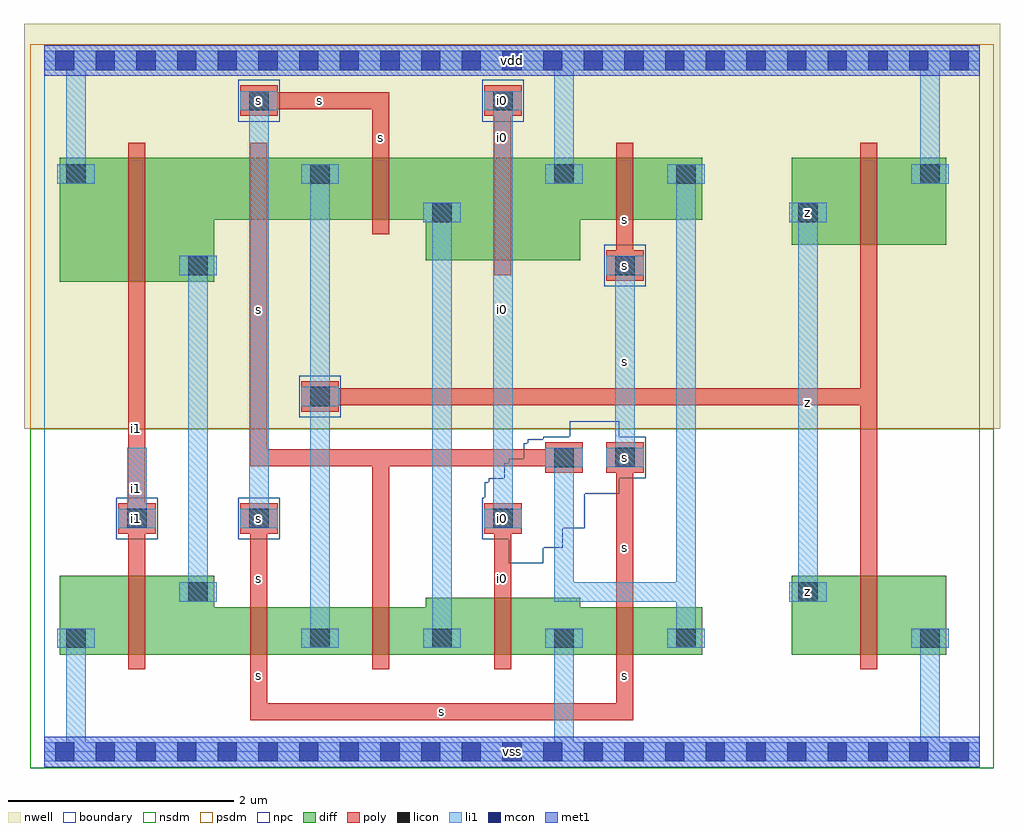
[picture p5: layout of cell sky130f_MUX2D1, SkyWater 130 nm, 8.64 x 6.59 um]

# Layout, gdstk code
import gdstk
lib = gdstk.Library(unit=1e-6, precision=1e-09)
def R(c, l, rs):  # rectangles x0, y0, x1, y1
    for r in rs: c.add(gdstk.rectangle(r[:2], r[2:], *l))
def A(c, l, x, y, w, h, nx, ny, dx, dy):  # array of equal rectangles
    R(c, l, [(x+i*dx, y+j*dy, x+i*dx+w, y+j*dy+h) for i in range(nx) for j in range(ny)])
def P(c, l, *ps):  # polygons
    for p in ps: c.add(gdstk.Polygon(p, *l))
L0_0 = (0, 0)
nwell = (64, 20)
diff = (65, 20)
poly = (66, 20)
licon = (66, 44)
li1 = (67, 20)
mcon = (67, 44)
met1 = (68, 20)
nsdm = (93, 44)
psdm = (94, 20)
npc = (95, 20)
boundary = (235, 4)

sky130f_mux2d1 = lib.new_cell('sky130f_MUX2D1')
R(sky130f_mux2d1, nwell, [(-0.18,2.86,8.46,6.445)])
A(sky130f_mux2d1, diff, 2.295, 0.86, 0.29, 0.29, 4, 1, 1.08, 0)
A(sky130f_mux2d1, diff, 0.135, 4.97, 0.29, 0.29, 3, 1, 2.16, 0)
R(sky130f_mux2d1, diff, [(0.135,0.86,1.505,1.56), (0.135,0.86,0.425,1.15), (1.215,0.86,2.585,1.28), (2.295,0.86,3.665,1.28), (3.375,0.86,4.745,1.365), (4.455,0.86,5.825,1.28), (6.615,0.86,7.985,1.56), (7.695,0.86,7.985,1.15), (1.215,1.27,1.505,1.56), (6.615,1.27,6.905,1.56), (0.135,4.16,1.505,5.26), (1.215,4.16,1.505,4.45), (3.375,4.35,4.745,5.26), (6.615,4.49,7.985,5.26), (3.375,4.63,3.665,4.92), (6.615,4.63,6.905,4.92), (1.215,4.71,2.585,5.26), (2.295,4.71,3.665,5.26), (4.455,4.71,5.825,5.26), (5.535,4.97,5.825,5.26), (7.695,4.97,7.985,5.26)])
R(sky130f_mux2d1, poly, [(1.825,0.28,1.975,1.08), (1.825,0.28,5.215,0.43), (5.065,0.28,5.215,1.08), (0.745,0.73,0.895,1.69), (1.825,0.73,1.975,1.41), (2.905,0.73,3.055,1.41), (3.985,0.73,4.135,1.495), (5.065,0.73,5.215,1.41), (7.225,0.73,7.375,1.69), (1.825,0.93,1.975,2.14), (2.905,0.93,3.055,2.68), (3.985,0.93,4.135,2.14), (5.065,0.93,5.215,2.68), (0.745,1.34,0.895,4.38), (7.225,1.34,7.375,3.22), (0.655,1.93,0.985,2.2), (1.735,1.93,2.065,2.2), (3.895,1.93,4.225,2.2), (4.435,2.47,4.765,2.74), (4.975,2.47,5.305,2.74), (1.825,2.53,3.055,2.68), (1.825,2.53,1.975,5.19), (2.905,2.53,4.675,2.68), (2.275,3.01,2.605,3.28), (2.365,3.07,7.375,3.22), (7.225,3.07,7.375,4.85), (0.745,4.03,0.895,5.39), (4.975,4.17,5.305,4.44), (3.985,4.22,4.135,5.39), (5.065,4.23,5.215,5.19), (7.225,4.36,7.375,5.39), (1.825,4.58,1.975,5.39), (2.905,4.58,3.055,5.39), (5.065,4.58,5.215,5.39), (2.905,5.04,3.055,5.84), (3.985,5.04,4.135,5.84), (1.735,5.63,2.065,5.9), (3.895,5.63,4.225,5.9), (1.825,5.69,3.055,5.84)])
A(sky130f_mux2d1, licon, 2.355, 0.92, 0.17, 0.17, 4, 1, 1.08, 0)
A(sky130f_mux2d1, licon, 0.195, 5.03, 0.17, 0.17, 3, 1, 2.16, 0)
R(sky130f_mux2d1, licon, [(0.195,0.92,0.365,1.09), (7.755,0.92,7.925,1.09), (1.275,1.33,1.445,1.5), (6.675,1.33,6.845,1.5), (0.735,1.98,0.905,2.15), (1.815,1.98,1.985,2.15), (3.975,1.98,4.145,2.15), (4.515,2.52,4.685,2.69), (5.055,2.52,5.225,2.69), (2.355,3.06,2.525,3.23), (1.275,4.22,1.445,4.39), (5.055,4.22,5.225,4.39), (3.435,4.69,3.605,4.86), (6.675,4.69,6.845,4.86), (5.595,5.03,5.765,5.2), (7.755,5.03,7.925,5.2), (1.815,5.68,1.985,5.85), (3.975,5.68,4.145,5.85)])
A(sky130f_mux2d1, li1, 2.275, 0.92, 0.33, 0.17, 4, 1, 1.08, 0)
A(sky130f_mux2d1, li1, 0.115, 5.03, 0.33, 0.17, 3, 1, 2.16, 0)
R(sky130f_mux2d1, li1, [(0,-0.085,8.28,0.085), (0.195,0.06,0.365,1.09), (4.515,0.06,4.685,1.09), (7.755,0.06,7.925,1.09), (0.115,0.92,0.445,1.09), (2.355,0.92,2.525,5.2), (3.435,0.92,3.605,4.86), (5.595,0.92,5.765,1.5), (7.675,0.92,8.005,1.09), (1.195,1.33,1.525,1.5), (1.275,1.33,1.445,4.39), (4.515,1.33,5.765,1.5), (4.515,1.33,4.685,2.69), (5.595,1.33,5.765,5.2), (6.595,1.33,6.925,1.5), (6.675,1.33,6.845,4.86), (0.655,1.98,0.985,2.15), (0.735,1.98,0.905,2.69), (1.735,1.98,2.065,2.15), (1.815,1.98,1.985,5.85), (3.895,1.98,4.225,2.15), (3.975,1.98,4.145,5.85), (4.435,2.52,4.765,2.69), (4.975,2.52,5.305,2.69), (5.055,2.52,5.225,4.39), (2.275,3.06,2.605,3.23), (1.195,4.22,1.525,4.39), (4.975,4.22,5.305,4.39), (3.355,4.69,3.685,4.86), (6.595,4.69,6.925,4.86), (0.195,5.03,0.365,6.06), (4.515,5.03,4.685,6.06), (5.515,5.03,5.845,5.2), (7.675,5.03,8.005,5.2), (7.755,5.03,7.925,6.06), (1.735,5.68,2.065,5.85), (3.895,5.68,4.225,5.85), (0,6.035,8.28,6.205)])
A(sky130f_mux2d1, mcon, 0.095, -0.085, 0.17, 0.17, 23, 2, 0.36, 6.12)
R(sky130f_mux2d1, met1, [(0,-0.135,8.28,0.135), (0,5.985,8.28,6.255)])
R(sky130f_mux2d1, nsdm, [(-0.125,-0.145,8.405,0.145), (-0.125,0.145,8.405,2.86)])
R(sky130f_mux2d1, psdm, [(-0.125,2.86,8.405,5.975), (-0.125,5.975,8.405,6.265)])
R(sky130f_mux2d1, npc, [(0.635,1.88,1.005,2.25), (1.715,1.88,2.085,2.25), (2.255,2.96,2.625,3.33), (4.955,4.12,5.325,4.49), (1.715,5.58,2.085,5.95), (3.875,5.58,4.245,5.95)])
P(sky130f_mux2d1, npc, [(4.11,1.67),(4.11,1.88),(3.875,1.88),(3.875,2.25),(3.9,2.25),(3.9,2.385),(3.935,2.385),(3.935,2.42),(4.07,2.42),(4.07,2.555),(4.11,2.555),(4.11,2.595),(4.245,2.595),(4.245,2.73),(4.28,2.73),(4.28,2.765),(4.415,2.765),(4.415,2.79),(4.65,2.79),(4.65,2.925),(5.09,2.925),(5.09,2.79),(5.325,2.79),(5.325,2.42),(5.09,2.42),(5.09,2.285),(4.785,2.285),(4.785,1.98),(4.59,1.98),(4.59,1.805),(4.415,1.805),(4.415,1.67)])
R(sky130f_mux2d1, boundary, [(0,0,8.28,6.12)])
sky130f_mux2d1.add(gdstk.FlexPath([(0.115,0.355),(8.005,0.355)], 0, ends="flush", simple_path=True, layer=0, datatype=0))  # L0_0
sky130f_mux2d1.add(gdstk.FlexPath([(0.115,1.005),(8.005,1.005)], 0, ends="flush", simple_path=True, layer=0, datatype=0))  # L0_0
sky130f_mux2d1.add(gdstk.FlexPath([(0.115,1.415),(8.005,1.415)], 0, ends="flush", simple_path=True, layer=0, datatype=0))  # L0_0
sky130f_mux2d1.add(gdstk.FlexPath([(0.115,2.065),(8.005,2.065)], 0, ends="flush", simple_path=True, layer=0, datatype=0))  # L0_0
sky130f_mux2d1.add(gdstk.FlexPath([(0.115,2.605),(8.005,2.605)], 0, ends="flush", simple_path=True, layer=0, datatype=0))  # L0_0
sky130f_mux2d1.add(gdstk.FlexPath([(0.115,3.145),(8.005,3.145)], 0, ends="flush", simple_path=True, layer=0, datatype=0))  # L0_0
sky130f_mux2d1.add(gdstk.FlexPath([(0.115,4.305),(8.005,4.305)], 0, ends="flush", simple_path=True, layer=0, datatype=0))  # L0_0
sky130f_mux2d1.add(gdstk.FlexPath([(0.115,4.775),(8.005,4.775)], 0, ends="flush", simple_path=True, layer=0, datatype=0))  # L0_0
sky130f_mux2d1.add(gdstk.FlexPath([(0.115,5.115),(8.005,5.115)], 0, ends="flush", simple_path=True, layer=0, datatype=0))  # L0_0
sky130f_mux2d1.add(gdstk.FlexPath([(0.115,5.765),(8.005,5.765)], 0, ends="flush", simple_path=True, layer=0, datatype=0))  # L0_0
sky130f_mux2d1.add(gdstk.FlexPath([(0.28,0.06),(0.28,6.06)], 0, ends="flush", simple_path=True, layer=0, datatype=0))  # L0_0
sky130f_mux2d1.add(gdstk.FlexPath([(0.82,0.06),(0.82,6.06)], 0, ends="flush", simple_path=True, layer=0, datatype=0))  # L0_0
sky130f_mux2d1.add(gdstk.FlexPath([(1.36,0.06),(1.36,6.06)], 0, ends="flush", simple_path=True, layer=0, datatype=0))  # L0_0
sky130f_mux2d1.add(gdstk.FlexPath([(1.9,0.06),(1.9,6.06)], 0, ends="flush", simple_path=True, layer=0, datatype=0))  # L0_0
sky130f_mux2d1.add(gdstk.FlexPath([(2.44,0.06),(2.44,6.06)], 0, ends="flush", simple_path=True, layer=0, datatype=0))  # L0_0
sky130f_mux2d1.add(gdstk.FlexPath([(2.98,0.06),(2.98,6.06)], 0, ends="flush", simple_path=True, layer=0, datatype=0))  # L0_0
sky130f_mux2d1.add(gdstk.FlexPath([(3.52,0.06),(3.52,6.06)], 0, ends="flush", simple_path=True, layer=0, datatype=0))  # L0_0
sky130f_mux2d1.add(gdstk.FlexPath([(4.06,0.06),(4.06,6.06)], 0, ends="flush", simple_path=True, layer=0, datatype=0))  # L0_0
sky130f_mux2d1.add(gdstk.FlexPath([(4.6,0.06),(4.6,6.06)], 0, ends="flush", simple_path=True, layer=0, datatype=0))  # L0_0
sky130f_mux2d1.add(gdstk.FlexPath([(5.14,0.06),(5.14,6.06)], 0, ends="flush", simple_path=True, layer=0, datatype=0))  # L0_0
sky130f_mux2d1.add(gdstk.FlexPath([(5.68,0.06),(5.68,6.06)], 0, ends="flush", simple_path=True, layer=0, datatype=0))  # L0_0
sky130f_mux2d1.add(gdstk.FlexPath([(6.22,0.06),(6.22,6.06)], 0, ends="flush", simple_path=True, layer=0, datatype=0))  # L0_0
sky130f_mux2d1.add(gdstk.FlexPath([(6.76,0.06),(6.76,6.06)], 0, ends="flush", simple_path=True, layer=0, datatype=0))  # L0_0
sky130f_mux2d1.add(gdstk.FlexPath([(7.3,0.06),(7.3,6.06)], 0, ends="flush", simple_path=True, layer=0, datatype=0))  # L0_0
sky130f_mux2d1.add(gdstk.FlexPath([(7.84,0.06),(7.84,6.06)], 0, ends="flush", simple_path=True, layer=0, datatype=0))  # L0_0
sky130f_mux2d1.add(gdstk.Label('z', (6.76,1.415), layer=65, texttype=20))
sky130f_mux2d1.add(gdstk.Label('z', (6.76,4.775), layer=65, texttype=20))
sky130f_mux2d1.add(gdstk.Label('s', (1.9,0.68), layer=66, texttype=20))
sky130f_mux2d1.add(gdstk.Label('s', (3.52,0.355), layer=66, texttype=20))
sky130f_mux2d1.add(gdstk.Label('s', (5.14,0.68), layer=66, texttype=20))
sky130f_mux2d1.add(gdstk.Label('s', (1.9,1.535), layer=66, texttype=20))
sky130f_mux2d1.add(gdstk.Label('s', (1.9,2.065), layer=66, texttype=20))
sky130f_mux2d1.add(gdstk.Label('s', (1.9,5.765), layer=66, texttype=20))
sky130f_mux2d1.add(gdstk.Label('s', (2.44,5.765), layer=66, texttype=20))
sky130f_mux2d1.add(gdstk.Label('s', (2.98,5.44), layer=66, texttype=20))
sky130f_mux2d1.add(gdstk.Label('s', (5.14,1.805), layer=66, texttype=20))
sky130f_mux2d1.add(gdstk.Label('s', (5.14,2.605), layer=66, texttype=20))
sky130f_mux2d1.add(gdstk.Label('s', (5.14,4.305), layer=66, texttype=20))
sky130f_mux2d1.add(gdstk.Label('s', (5.14,4.71), layer=66, texttype=20))
sky130f_mux2d1.add(gdstk.Label('i1', (0.82,2.86), layer=66, texttype=20))
sky130f_mux2d1.add(gdstk.Label('i1', (0.82,2.065), layer=66, texttype=20))
sky130f_mux2d1.add(gdstk.Label('i0', (4.06,1.535), layer=66, texttype=20))
sky130f_mux2d1.add(gdstk.Label('i0', (4.06,2.065), layer=66, texttype=20))
sky130f_mux2d1.add(gdstk.Label('i0', (4.06,5.765), layer=66, texttype=20))
sky130f_mux2d1.add(gdstk.Label('i0', (4.06,5.44), layer=66, texttype=20))
sky130f_mux2d1.add(gdstk.Label('z', (6.76,1.415), layer=66, texttype=44))
sky130f_mux2d1.add(gdstk.Label('z', (6.76,4.775), layer=66, texttype=44))
sky130f_mux2d1.add(gdstk.Label('s', (1.9,2.065), layer=66, texttype=44))
sky130f_mux2d1.add(gdstk.Label('s', (1.9,5.765), layer=66, texttype=44))
sky130f_mux2d1.add(gdstk.Label('s', (5.14,2.605), layer=66, texttype=44))
sky130f_mux2d1.add(gdstk.Label('s', (5.14,4.305), layer=66, texttype=44))
sky130f_mux2d1.add(gdstk.Label('i1', (0.82,2.065), layer=66, texttype=44))
sky130f_mux2d1.add(gdstk.Label('i0', (4.06,2.065), layer=66, texttype=44))
sky130f_mux2d1.add(gdstk.Label('i0', (4.06,5.765), layer=66, texttype=44))
sky130f_mux2d1.add(gdstk.Label('s', (1.9,2.065), layer=67, texttype=5))
sky130f_mux2d1.add(gdstk.Label('s', (1.9,3.915), layer=67, texttype=5))
sky130f_mux2d1.add(gdstk.Label('s', (1.9,5.765), layer=67, texttype=5))
sky130f_mux2d1.add(gdstk.Label('s', (5.14,2.605), layer=67, texttype=5))
sky130f_mux2d1.add(gdstk.Label('s', (5.14,3.455), layer=67, texttype=5))
sky130f_mux2d1.add(gdstk.Label('s', (5.14,4.305), layer=67, texttype=5))
sky130f_mux2d1.add(gdstk.Label('i1', (0.82,2.065), layer=67, texttype=5))
sky130f_mux2d1.add(gdstk.Label('i1', (0.82,2.335), layer=67, texttype=5))
sky130f_mux2d1.add(gdstk.Label('i0', (4.06,2.065), layer=67, texttype=5))
sky130f_mux2d1.add(gdstk.Label('i0', (4.06,3.915), layer=67, texttype=5))
sky130f_mux2d1.add(gdstk.Label('i0', (4.06,5.765), layer=67, texttype=5))
sky130f_mux2d1.add(gdstk.Label('z', (6.76,1.415), layer=67, texttype=5))
sky130f_mux2d1.add(gdstk.Label('z', (6.76,4.775), layer=67, texttype=5))
sky130f_mux2d1.add(gdstk.Label('z', (6.76,3.095), layer=67, texttype=5))
sky130f_mux2d1.add(gdstk.Label('vss', (4.14,0), layer=67, texttype=5))
sky130f_mux2d1.add(gdstk.Label('vdd', (4.14,6.12), layer=67, texttype=5))
sky130f_mux2d1.add(gdstk.Label('vss', (4.14,0), layer=68, texttype=5))
sky130f_mux2d1.add(gdstk.Label('vdd', (4.14,6.12), layer=68, texttype=5))

lib.write_gds('sky130f_MUX2D1.gds')
